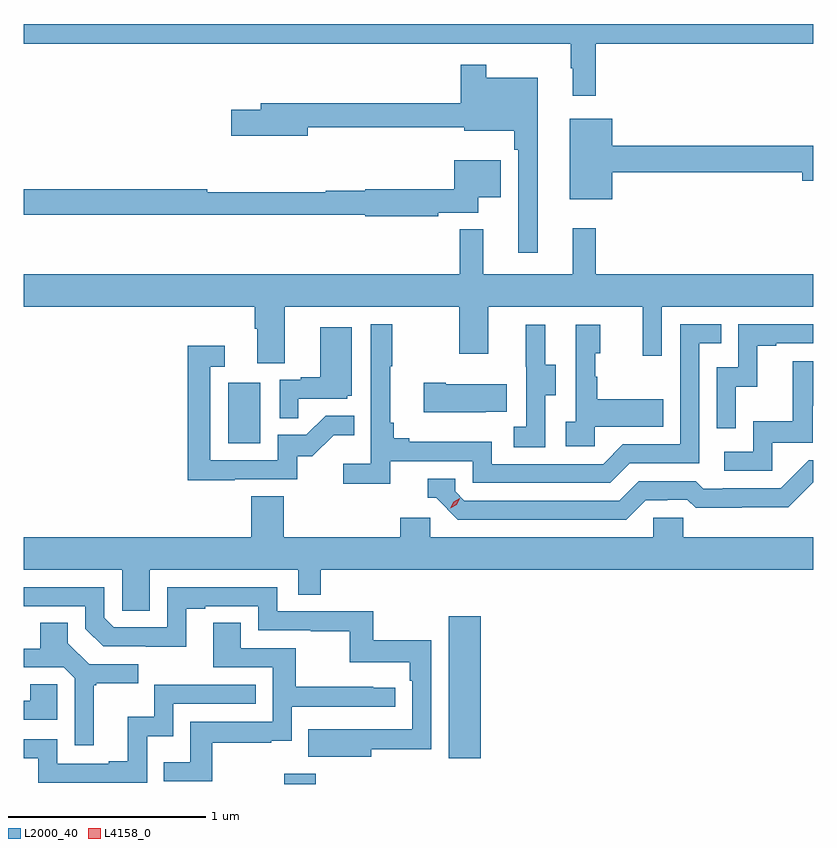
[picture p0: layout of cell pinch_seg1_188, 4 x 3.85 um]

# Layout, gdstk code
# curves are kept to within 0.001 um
import gdstk
lib = gdstk.Library(unit=1e-6, precision=1e-09)
def R(c, l, rs):  # rectangles x0, y0, x1, y1
    for r in rs: c.add(gdstk.rectangle(r[:2], r[2:], *l))
def P(c, l, *ps):  # polygons
    for p in ps: c.add(gdstk.Polygon(p, *l))
L2000_40 = (2000, 40)
L4158_0 = (4158, 0)

pinch_seg1_188 = lib.new_cell('pinch_seg1_188')
R(pinch_seg1_188, L2000_40, [(983.23,579.95,983.39,580.003), (984.065,580.08,984.226,580.801), (982.946,581.676,983.11,581.983)])
P(pinch_seg1_188, L2000_40, [(984.809,583.7),(985.911,583.7),(985.911,583.8),(981.911,583.8),(981.911,583.7),(984.681,583.7),(984.681,583.577),(984.692,583.577),(984.692,583.437),(984.809,583.437)],
  [(984.514,583.528),(984.253,583.528),(984.253,583.594),(984.124,583.594),(984.124,583.399),(983.111,583.399),(983.111,583.365),(982.962,583.365),(982.962,583.235),(983.35,583.235),(983.35,583.278),(984.143,583.278),(984.143,583.259),(984.397,583.259),(984.397,583.163),(984.417,583.163),(984.417,582.642),(984.514,582.642)],
  [(984.892,583.048),(985.856,583.048),(985.856,583.006),(985.911,583.006),(985.911,583.184),(984.892,583.184),(984.892,583.321),(984.677,583.321),(984.677,582.911),(984.892,582.911)],
  [(984.012,582.845),(984.214,582.845),(984.214,582.923),(984.328,582.923),(984.328,583.111),(984.092,583.111),(984.092,582.963),(983.64,582.963),(983.64,582.955),(983.44,582.955),(983.44,582.947),(982.84,582.947),(982.84,582.962),(981.911,582.962),(981.911,582.834),(983.64,582.834),(983.64,582.826),(984.012,582.826)],
  [(983.233,582.368),(984.118,582.368),(984.118,582.129),(984.265,582.129),(984.265,582.368),(985.046,582.368),(985.046,582.12),(985.143,582.12),(985.143,582.368),(985.911,582.368),(985.911,582.532),(984.809,582.532),(984.809,582.766),(984.692,582.766),(984.692,582.532),(984.239,582.532),(984.239,582.76),(984.121,582.76),(984.121,582.532),(981.911,582.532),(981.911,582.368),(983.081,582.368),(983.081,582.256),(983.093,582.256),(983.093,582.082),(983.233,582.082)],
  [(983.768,581.586),(984.186,581.586),(984.186,581.475),(984.883,581.475),(984.982,581.574),(985.332,581.574),(985.332,582.183),(985.445,582.183),(985.445,582.279),(985.236,582.279),(985.236,581.67),(984.945,581.67),(984.846,581.571),(984.282,581.571),(984.282,581.683),(983.863,581.683),(983.863,581.702),(983.786,581.702),(983.786,581.779),(983.767,581.779),(983.767,582.067),(983.779,582.067),(983.779,582.28),(983.67,582.28),(983.67,581.572),(983.529,581.572),(983.529,581.47),(983.768,581.47)],
  [(985.518,581.963),(985.628,581.963),(985.628,582.171),(985.723,582.171),(985.723,582.183),(985.911,582.183),(985.911,582.279),(985.53,582.279),(985.53,582.06),(985.422,582.06),(985.422,581.751),(985.518,581.751)],
  [(984.804,581.759),(985.151,581.759),(985.151,581.899),(984.817,581.899),(984.817,582.014),(984.807,582.014),(984.807,582.132),(984.832,582.132),(984.832,582.277),(984.708,582.277),(984.708,581.786),(984.657,581.786),(984.657,581.661),(984.804,581.661)],
  [(984.552,581.92),(984.607,581.92),(984.607,582.075),(984.553,582.075),(984.553,582.277),(984.455,582.277),(984.455,582.063),(984.456,582.063),(984.456,581.759),(984.393,581.759),(984.393,581.656),(984.552,581.656)],
  [(983.303,581.901),(983.55,581.901),(983.55,581.916),(983.572,581.916),(983.572,582.265),(983.414,582.265),(983.414,582.01),(983.315,582.01),(983.315,581.997),(983.208,581.997),(983.208,581.803),(983.303,581.803)],
  [(982.979,581.493),(983.298,581.493),(983.298,581.61),(983.374,581.61),(983.481,581.717),(983.585,581.717),(983.585,581.816),(983.441,581.816),(983.343,581.718),(983.199,581.718),(983.199,581.589),(982.857,581.589),(982.857,582.063),(982.93,582.063),(982.93,582.169),(982.741,582.169),(982.741,581.488),(982.979,581.488)],
  [(985.704,581.679),(985.909,581.679),(985.909,581.865),(985.911,581.865),(985.911,582.091),(985.807,582.091),(985.807,581.788),(985.608,581.788),(985.608,581.634),(985.461,581.634),(985.461,581.538),(985.704,581.538)],
  [(984.251,581.837),(984.359,581.837),(984.359,581.974),(984.049,581.974),(984.049,581.982),(983.937,581.982),(983.937,581.834),(984.251,581.834)],
  [(985.063,581.388),(985.17,581.388),(985.17,581.391),(985.273,581.391),(985.315,581.349),(985.548,581.349),(985.548,581.351),(985.784,581.351),(985.911,581.478),(985.911,581.589),(985.887,581.589),(985.746,581.448),(985.453,581.448),(985.453,581.445),(985.354,581.445),(985.315,581.484),(985.026,581.484),(984.927,581.385),(984.144,581.385),(984.096,581.433),(984.096,581.496),(983.957,581.496),(983.957,581.4),(984,581.4),(984.111,581.289),(984.964,581.289)],
  [(985.911,581.2),(985.251,581.2),(985.251,581.298),(985.101,581.298),(985.101,581.2),(983.97,581.2),(983.97,581.298),(983.819,581.298),(983.819,581.2),(983.228,581.2),(983.228,581.408),(983.063,581.408),(983.063,581.2),(981.911,581.2),(981.911,581.036),(982.41,581.036),(982.41,580.828),(982.549,580.828),(982.549,581.036),(983.301,581.036),(983.301,580.909),(983.417,580.909),(983.417,581.036),(985.911,581.036)],
  [(983.671,580.126),(983.976,580.126),(983.976,580.678),(983.683,580.678),(983.683,580.824),(983.196,580.824),(983.196,580.947),(982.638,580.947),(982.638,580.743),(982.368,580.743),(982.32,580.791),(982.32,580.947),(981.911,580.947),(981.911,580.851),(982.224,580.851),(982.224,580.737),(982.314,580.647),(982.735,580.646),(982.735,580.839),(982.831,580.839),(982.831,580.851),(983.1,580.851),(983.1,580.728),(983.365,580.728),(983.365,580.723),(983.562,580.723),(983.562,580.568),(983.867,580.568),(983.867,580.472),(983.88,580.472),(983.88,580.227),(983.353,580.228),(983.353,580.088),(983.671,580.088)],
  [(982.867,580.158),(983.165,580.158),(983.165,580.169),(983.268,580.169),(983.268,580.341),(983.794,580.341),(983.794,580.437),(983.681,580.437),(983.681,580.442),(983.288,580.442),(983.288,580.638),(983.011,580.638),(983.011,580.766),(982.871,580.766),(982.871,580.542),(983.172,580.542),(983.172,580.266),(982.756,580.266),(982.756,580.06),(982.621,580.06),(982.621,579.963),(982.867,579.963)],
  [(982.267,580.449),(982.279,580.449),(982.279,580.46),(982.492,580.46),(982.492,580.557),(982.242,580.557),(982.135,580.664),(982.135,580.766),(981.995,580.766),(981.995,580.634),(981.911,580.634),(981.911,580.542),(982.113,580.542),(982.17,580.485),(982.17,580.146),(982.267,580.146)],
  [(982.08,580.455),(981.943,580.455),(981.943,580.371),(981.911,580.371),(981.911,580.275),(982.08,580.275)],
  [(982.536,580.193),(982.668,580.193),(982.668,580.356),(983.087,580.356),(983.087,580.452),(982.572,580.452),(982.572,580.291),(982.439,580.291),(982.439,580.066),(982.343,580.066),(982.343,580.053),(982.08,580.053),(982.08,580.176),(981.911,580.176),(981.911,580.08),(981.984,580.08),(981.984,579.957),(982.536,579.957)])
P(pinch_seg1_188, L4158_0, [(984.073,581.346),(984.073,581.347),(984.09,581.379),(984.121,581.398),(984.121,581.398),(984.121,581.398),(984.104,581.365),(984.073,581.346)])

lib.write_gds('pinch_seg1_188.gds')
